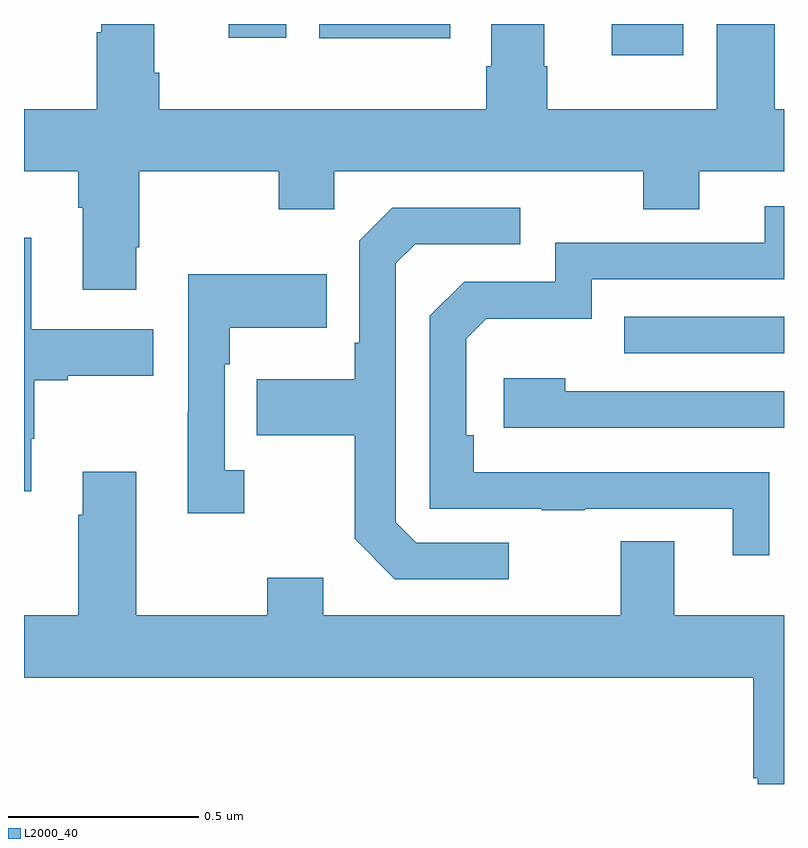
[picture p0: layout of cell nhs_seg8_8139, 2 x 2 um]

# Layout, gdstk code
import gdstk
lib = gdstk.Library(unit=1e-6, precision=1e-09)
def R(c, l, rs):  # rectangles x0, y0, x1, y1
    for r in rs: c.add(gdstk.rectangle(r[:2], r[2:], *l))
def P(c, l, *ps):  # polygons
    for p in ps: c.add(gdstk.Polygon(p, *l))
L2000_40 = (2000, 40)

nhs_seg8_8139 = lib.new_cell('nhs_seg8_8139')
R(nhs_seg8_8139, L2000_40, [(220.579,1104.033,221,1104.129), (220.547,1104.818,220.735,1104.9), (219.777,1104.863,220.122,1104.9), (219.539,1104.864,219.69,1104.9)])
P(nhs_seg8_8139, L2000_40, [(219.295,1104.313),(219.303,1104.313),(219.303,1104.512),(219.67,1104.512),(219.67,1104.413),(219.816,1104.413),(219.816,1104.512),(220.63,1104.512),(220.63,1104.413),(220.777,1104.413),(220.777,1104.512),(221,1104.512),(221,1104.676),(220.976,1104.676),(220.976,1104.9),(220.823,1104.9),(220.823,1104.676),(220.377,1104.676),(220.377,1104.789),(220.369,1104.789),(220.369,1104.9),(220.229,1104.9),(220.229,1104.789),(220.217,1104.789),(220.217,1104.676),(219.356,1104.676),(219.356,1104.772),(219.343,1104.772),(219.343,1104.9),(219.203,1104.9),(219.203,1104.878),(219.191,1104.878),(219.191,1104.676),(219,1104.676),(219,1104.512),(219.143,1104.512),(219.143,1104.416),(219.155,1104.416),(219.155,1104.201),(219.295,1104.201)],
  [(220.961,1103.72),(220.859,1103.72),(220.859,1103.721),(220.184,1103.721),(220.184,1103.818),(220.164,1103.818),(220.164,1104.072),(220.217,1104.125),(220.494,1104.125),(220.494,1104.228),(221,1104.228),(221,1104.42),(220.949,1104.42),(220.949,1104.324),(220.398,1104.324),(220.398,1104.222),(220.158,1104.222),(220.068,1104.132),(220.068,1103.625),(220.363,1103.625),(220.363,1103.62),(220.475,1103.62),(220.475,1103.625),(220.865,1103.625),(220.865,1103.502),(220.961,1103.502)],
  [(220.276,1103.535),(220.032,1103.535),(219.978,1103.589),(219.978,1104.27),(220.029,1104.321),(220.306,1104.321),(220.306,1104.417),(219.969,1104.417),(219.882,1104.33),(219.882,1104.061),(219.87,1104.061),(219.87,1103.965),(219.613,1103.965),(219.613,1103.818),(219.87,1103.818),(219.87,1103.545),(219.975,1103.439),(220.276,1103.439)],
  [(219.019,1103.809),(219.027,1103.809),(219.027,1103.963),(219.115,1103.963),(219.115,1103.975),(219.34,1103.975),(219.34,1104.097),(219.019,1104.097),(219.019,1104.337),(219,1104.337),(219,1103.67),(219.019,1103.67)],
  [(219.58,1103.726),(219.528,1103.726),(219.528,1104.005),(219.541,1104.005),(219.541,1104.101),(219.797,1104.101),(219.797,1104.241),(219.432,1104.241),(219.432,1103.879),(219.431,1103.879),(219.431,1103.613),(219.58,1103.613)],
  [(221,1103.934),(220.424,1103.934),(220.424,1103.968),(220.263,1103.968),(220.263,1103.838),(221,1103.838)],
  [(220.711,1103.539),(220.571,1103.539),(220.571,1103.344),(219.787,1103.344),(219.787,1103.443),(219.64,1103.443),(219.64,1103.344),(219.295,1103.344),(219.295,1103.722),(219.155,1103.722),(219.155,1103.609),(219.143,1103.609),(219.143,1103.344),(219,1103.344),(219,1103.18),(220.919,1103.18),(220.919,1102.915),(220.931,1102.915),(220.931,1102.9),(221,1102.9),(221,1103.344),(220.711,1103.344)])

lib.write_gds('nhs_seg8_8139.gds')
